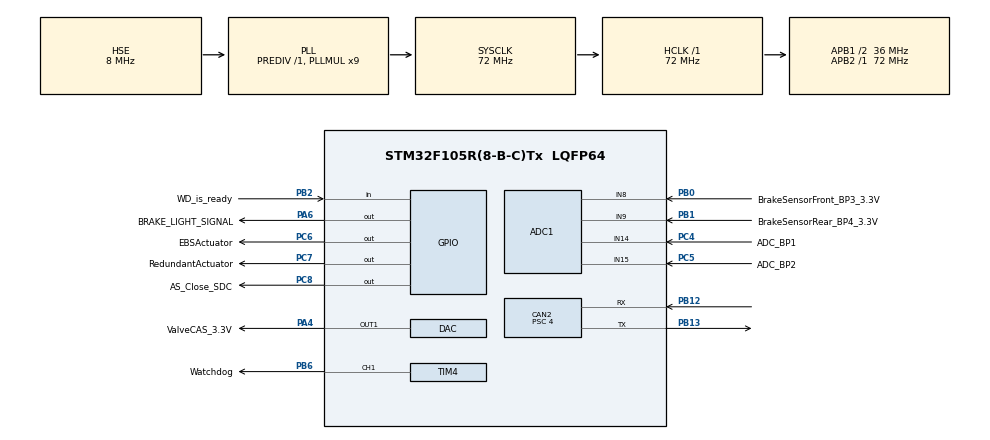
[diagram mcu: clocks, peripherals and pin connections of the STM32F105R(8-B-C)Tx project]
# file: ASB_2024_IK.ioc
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ADC1.Channel-4\#ChannelInjectedConversion=ADC_CHANNEL_8
ADC1.Channel-5\#ChannelInjectedConversion=ADC_CHANNEL_9
ADC1.Channel-6\#ChannelInjectedConversion=ADC_CHANNEL_14
ADC1.Channel-7\#ChannelInjectedConversion=ADC_CHANNEL_15
ADC1.ContinuousConvMode=DISABLE
ADC1.EnableInjectedConversion=ENABLE
ADC1.EnableRegularConversion=DISABLE
ADC1.InjNumberOfConversion=4
ADC1.InjectedOffset-4\#ChannelInjectedConversion=0
ADC1.InjectedOffset-5\#ChannelInjectedConversion=0
ADC1.InjectedOffset-6\#ChannelInjectedConversion=0
ADC1.InjectedOffset-7\#ChannelInjectedConversion=0
ADC1.InjectedRank-4\#ChannelInjectedConversion=1
ADC1.InjectedRank-5\#ChannelInjectedConversion=2
ADC1.InjectedRank-6\#ChannelInjectedConversion=3
ADC1.InjectedRank-7\#ChannelInjectedConversion=4
ADC1.SamplingTime-4\#ChannelInjectedConversion=ADC_SAMPLETIME_55CYCLES_5
ADC1.SamplingTime-5\#ChannelInjectedConversion=ADC_SAMPLETIME_55CYCLES_5
ADC1.SamplingTime-6\#ChannelInjectedConversion=ADC_SAMPLETIME_55CYCLES_5
ADC1.SamplingTime-7\#ChannelInjectedConversion=ADC_SAMPLETIME_55CYCLES_5
ADC1.master=1
CAN2.ABOM=ENABLE
CAN2.AWUM=ENABLE
CAN2.BS1=CAN_BS1_15TQ
CAN2.BS2=CAN_BS2_2TQ
CAN2.CalculateBaudRate=500000
CAN2.CalculateTimeBit=2000
CAN2.CalculateTimeQuantum=111.11111111111111
CAN2.NART=ENABLE
CAN2.Prescaler=4
FREERTOS.Tasks01=readSensors,1,128,StartReadSensorsTsk,Default,NULL,Dynamic,NULL,NULL;supervisor,2,128,supervisorTask,Default,NULL,Dynamic,NULL,NULL;ManageSysTask,0,256,ManageTask,Default,NULL,Dynamic,NULL,NULL;SendCANTask,0,128,SendControlCANTask,Default,NULL,Dynamic,NULL,NULL
Mcu.Family=STM32F1
Mcu.Name=STM32F105R(8-B-C)Tx
Mcu.Package=LQFP64
NVIC.ADC1_2_IRQn=true\:5\:0\:false\:false\:true\:true\:true\:true\:true
NVIC.CAN2_RX0_IRQn=true\:5\:0\:false\:false\:true\:true\:true\:true\:true
NVIC.CAN2_TX_IRQn=true\:5\:0\:false\:false\:true\:true\:true\:true\:true
NVIC.PriorityGroup=NVIC_PRIORITYGROUP_4
NVIC.TIM7_IRQn=true\:15\:0\:false\:false\:true\:false\:false\:true\:true
NVIC.TimeBase=TIM7_IRQn
NVIC.TimeBaseIP=TIM7
PA13.Mode=Serial_Wire
PA13.Signal=SYS_JTMS-SWDIO
PA14.Mode=Serial_Wire
PA14.Signal=SYS_JTCK-SWCLK
PA4.GPIO_Label=ValveCAS_3.3V
PA4.Signal=COMP_DAC1_group
PA6.GPIO_Label=BRAKE_LIGHT_SIGNAL
PA6.GPIO_Speed=GPIO_SPEED_FREQ_HIGH
PA6.Signal=GPIO_Output
PB0.GPIO_Label=BrakeSensorFront_BP3_3.3V
PB0.Signal=ADCx_IN8
PB1.GPIO_Label=BrakeSensorRear_BP4_3.3V
PB1.Signal=ADCx_IN9
PB12.Mode=CAN_Activate
PB12.Signal=CAN2_RX
PB13.Mode=CAN_Activate
PB13.Signal=CAN2_TX
PB2.GPIO_Label=WD_is_ready
PB2.GPIO_PuPd=GPIO_PULLDOWN
PB2.Signal=GPIO_Input
PB6.GPIO_Label=Watchdog
PB6.Signal=S_TIM4_CH1
PC4.GPIO_Label=ADC_BP1
PC4.Signal=ADCx_IN14
PC5.GPIO_Label=ADC_BP2
PC5.Signal=ADCx_IN15
PC6.GPIO_Label=EBSActuator
PC6.GPIO_PuPd=GPIO_PULLDOWN
PC6.GPIO_Speed=GPIO_SPEED_FREQ_HIGH
PC6.Signal=GPIO_Output
PC7.GPIO_Label=RedundantActuator
PC7.GPIO_PuPd=GPIO_PULLDOWN
PC7.GPIO_Speed=GPIO_SPEED_FREQ_HIGH
PC7.Signal=GPIO_Output
PC8.GPIO_Label=AS_Close_SDC
PC8.GPIO_PuPd=GPIO_PULLDOWN
PC8.GPIO_Speed=GPIO_SPEED_FREQ_HIGH
PC8.Signal=GPIO_Output
PD0-OSC_IN.Mode=HSE-External-Oscillator
PD0-OSC_IN.Signal=RCC_OSC_IN
PD1-OSC_OUT.Mode=HSE-External-Oscillator
PD1-OSC_OUT.Signal=RCC_OSC_OUT
ProjectManager.HeapSize=0x200
ProjectManager.StackSize=0x400
ProjectManager.TargetToolchain=MDK-ARM V5
RCC.ADCPresc=RCC_ADCPCLK2_DIV6
RCC.AHBFreq_Value=72000000
RCC.APB1CLKDivider=RCC_HCLK_DIV2
RCC.APB1Freq_Value=36000000
RCC.APB1TimFreq_Value=72000000
RCC.APB2Freq_Value=72000000
RCC.APB2TimFreq_Value=72000000
RCC.HCLKFreq_Value=72000000
RCC.PLLMUL=RCC_PLL_MUL9
RCC.PLLSourceVirtual=RCC_PLLSOURCE_HSE
RCC.SYSCLKFreq_VALUE=72000000
RCC.SYSCLKSource=RCC_SYSCLKSOURCE_PLLCLK
RCC.USBFreq_Value=48000000
SH.ADCx_IN14.0=ADC1_IN14,IN14
SH.ADCx_IN15.0=ADC1_IN15,IN15
SH.ADCx_IN8.0=ADC1_IN8,IN8
SH.ADCx_IN9.0=ADC1_IN9,IN9
SH.COMP_DAC1_group.0=DAC_OUT1,DAC_OUT1
SH.S_TIM4_CH1.0=TIM4_CH1,PWM Generation1 CH1
TIM4.Channel-PWM\ Generation1\ CH1=TIM_CHANNEL_1
TIM4.Period=1999
TIM4.Prescaler=71
TIM4.Pulse-PWM\ Generation1\ CH1=999
VP_FREERTOS_VS_CMSIS_V1.Mode=CMSIS_V1
VP_SYS_VS_tim7.Mode=TIM7
board=custom

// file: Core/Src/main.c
/* USER CODE BEGIN Header */
/**
  ******************************************************************************
  * @file           : main.c
  * @brief          : Main program body
  ******************************************************************************
  * @attention
  *
  * Copyright (c) 2024 STMicroelectronics.
  * All rights reserved.
  *
  * This software is licensed under terms that can be found in the LICENSE file
  * in the root directory of this software component.
  * If no LICENSE file comes with this software, it is provided AS-IS.
  *
  ******************************************************************************
  */
/* USER CODE END Header */
#include "main.h"
#include "cmsis_os.h"

/* USER CODE BEGIN Includes */
#include <ISO646.h>
#include <stdlib.h>
#include <math.h>
#include <stdbool.h>
/* USER CODE END Includes */

/* USER CODE BEGIN PTD */
typedef enum {
	ASB_RESET,
	MANUAL_DRIVING_MODE,
	INIT_CHECK_REQUEST,
	GO_SIGNAL,                          //	unused, yet
	EXT_EMERGENCY,
	EMERGENCY_HANDLER_ERROR,              // error that occurs when the Watchdog wasn't stopped
	EMERGENCY_HANDLER_COMPLETE,
	MONITORING_FINISHED,
	MONITORING_ERROR,
	INIT_CHECK_ERROR,
	INIT_CHECK_COMPLETE,
} ASBSignal_TypeDef;
ASBSignal_TypeDef ASBSignal;

typedef enum {
	NO_ERRORS = 0,
	ENERGY_STORAGE_NOT_FILLED,
	OVERPRESSURE_OR_IMPAUSIBILITY,
	DRIVING_MODE_ERROR,
	BRAKES_NOT_WORKING,
	EBS_ENERGY_STORAGE_ERROR,
	UNEXPECTED_SIGNAL_ERROR,
} ErrorFlag_TypeDef;
ErrorFlag_TypeDef ErrorFlag = NO_ERRORS;

typedef enum {
	AS_OFF = 0,
	INIT_CHECK,
	READY,
	DRIVING,
	EMERGENCY,
	SAFE_STATE,
} ASBState_TypeDef;
ASBState_TypeDef ASBState = AS_OFF;

// status(OFF=0x0, MANUAL=0x1, READY=0x2, DRIVING=0x3, EMERGENCY=0x4)
typedef enum {
	_OFF = 0,
	_MANUAL,
	_READY,
	_DRIVING,
	_EMERGENCY,
} ASBStatus_TypeDef;
ASBStatus_TypeDef ASBStatus = _OFF;

/* USER CODE END PTD */

/* USER CODE BEGIN PD */
#define SDC_CLOSE() HAL_GPIO_WritePin(AS_Close_SDC_GPIO_Port,AS_Close_SDC_Pin,GPIO_PIN_SET);
#define SDC_OPEN() HAL_GPIO_WritePin(AS_Close_SDC_GPIO_Port,AS_Close_SDC_Pin,GPIO_PIN_RESET);
#define BRAKE_LIGHT_ON() HAL_GPIO_WritePin(BRAKE_LIGHT_SIGNAL_GPIO_Port,BRAKE_LIGHT_SIGNAL_Pin,GPIO_PIN_SET);
#define BRAKE_LIGHT_OFF() HAL_GPIO_WritePin(BRAKE_LIGHT_SIGNAL_GPIO_Port,BRAKE_LIGHT_SIGNAL_Pin,GPIO_PIN_RESET);

#define EBS_QM1_ON() HAL_GPIO_WritePin(EBSActuator_GPIO_Port, EBSActuator_Pin, GPIO_PIN_SET);
#define Redundant_QM2_ON() HAL_GPIO_WritePin(RedundantActuator_GPIO_Port, RedundantActuator_Pin, GPIO_PIN_SET);
#define EBS_QM1_OFF() HAL_GPIO_WritePin(EBSActuator_GPIO_Port, EBSActuator_Pin, GPIO_PIN_RESET);
#define Redundant_QM2_OFF() HAL_GPIO_WritePin(RedundantActuator_GPIO_Port, RedundantActuator_Pin, GPIO_PIN_RESET);

#define WD_READY_FALL_TIME 100  	// Time during which WD_is_ready is expected to fall, ms
#define WD_READY_RISE_TIME 100	 	// Time during which WD_is_ready is expected to rise, ms

#define STORAGE_PNEUMO_MIN_PRESSURE_BP1		6.5 	// bar
#define STORAGE_PNEUMO_MIN_PRESSURE_BP2 	5.5 	// bar
#define STORAGE_PNEUMO_MAX_PRESSURE_BP1 	8.5 	// bar
#define STORAGE_PNEUMO_MAX_PRESSURE_BP2 	6.5 	// bar
#define HYDRO_MIN_PRESSURE								10   	// bar
/*
The pressure sensor cannot output 0 during operation.
If the sensor outputs a value of 0, then it is defective.
Therefore we must enter some minimum value PRESSURE_MIN. This value is found empirically.
If the value coming from the sensor is less than PRESSURE_MIN, then we assume that the sensor outputs zero.
We also enter the PRESSURE_ZERO value.
If the value coming from the sensor is less than PRESSURE_ZERO, the sensor does not work.
*/
#define PNEUMO_MIN_PRESSURE 		1 	// bar
//#define PNEUMO_ZERO_PRESSURE		3
#define PRESSURE_MAX_DIFFERENCE 410 // Need found

#define TIME_FOR_SENSORS_CHECK 	100

#define DAC_PRESSURE_MIN 0x0
#define DAC_PRESSURE_MAX 0xFFF
#define CAN_PRESSURE_MIN 0x0
#define CAN_PRESSURE_MAX 0xFFFF
#define PNEUMO_BAR_PRESSURE_MIN 	0
#define PNEUMO_BAR_PRESSURE_MAX 	6
#define HYDRO_BAR_PRESSURE_MIN 		0
#define HYDRO_BAR_PRESSURE_MAX 		100

#define PI 3.141592

#define T 0.001; //sample time (discretization)

#define k 4018.9f //коэффициент для пересчета давления в гидравлике(бар) в тормозной момент(Н*м)

#define DEBUG 0

#if (DEBUG == 0)
#define MEDIAN_ORDER 10
#endif

/*~~~~~~~~~~~~~~~~ADC~~~~~~~~~~~~~~~~*/
volatile uint16_t adc[4] = {0,}; // у нас четыре канала поэтому массив из двух элементов
bool ADC_flag = 0; //флаг окончания преобразования ADC
/*~~~~~~~~~~~~~~~~ADC~~~~~~~~~~~~~~~~*/

/*~~~~~~~~~~~~~~~~~~~~~~~~~~~~~~~~~~~~~~~~~~~~~~~~~~~~~~HydroPressure~~~~~~~~~~~~~~~~~~~~~~~~~~~~~~~~~~~~~~~~~~~~~~~~~~~~~~*/
/*BrakeSensorFront*/
float VAL_BrakeSensFront, VAL_BrakeSensFront_prev, VAL_BrakeSensFront_f = 0;
int16_t ADC_BrakeSensFront = 0;

/*BrakeSensorRear*/
float VAL_BrakeSensRear, VAL_BrakeSensRear_prev, VAL_BrakeSensRear_f = 0;
int16_t ADC_BrakeSensRear = 0;

/*BrakeSensorsVariables*/
float VAL_HydroPressure = 0; //VAL_HydroPressure = VAL_BrakeSensRear_f + VAL_BrakeSensFront_f;
/*~~~~~~~~~~~~~~~~~~~~~~~~~~~~~~~~~~~~~~~~~~~~~~~~~~~~~~HydroPressure~~~~~~~~~~~~~~~~~~~~~~~~~~~~~~~~~~~~~~~~~~~~~~~~~~~~~~*/

/*~~~~~~~~~~~~~~~~~~~~~~~~~~~~~~~~~~~~~~~~~~~~~~~~~~~~~~PneumoPressure~~~~~~~~~~~~~~~~~~~~~~~~~~~~~~~~~~~~~~~~~~~~~~~~~~~~~~*/
/*Pressure BP1*/
float VAL_Pressure_BP1, VAL_Pressure_BP1_prev, VAL_Pressure_BP1_f = 0;
int16_t ADC_Pressure_BP1 = 0;
/*Pressure BP1*/

/*Pressure BP2*/
float VAL_Pressure_BP2, VAL_Pressure_BP2_prev, VAL_Pressure_BP2_f = 0;
int16_t ADC_Pressure_BP2 = 0;
/*Pressure BP2*/
/*~~~~~~~~~~~~~~~~~~~~~~~~~~~~~~~~~~~~~~~~~~~~~~~~~~~~~~PneumoPressure~~~~~~~~~~~~~~~~~~~~~~~~~~~~~~~~~~~~~~~~~~~~~~~~~~~~~~*/

/*~~~~~~~~~~~~~~~~~~~~~~~~~~~~~~~~~~~~~~~~~~~~~~~~~~~~~~Brake Moment~~~~~~~~~~~~~~~~~~~~~~~~~~~~~~~~~~~~~~~~~~~~~~~~~~~~~~*/
float VAL_MomentBrake  = 0;
/*~~~~~~~~~~~~~~~~~~~~~~~~~~~~~~~~~~~~~~~~~~~~~~~~~~~~~~Brake Moment~~~~~~~~~~~~~~~~~~~~~~~~~~~~~~~~~~~~~~~~~~~~~~~~~~~~~~*/

/*~~~~~~~~~~~~~~~~PID value~~~~~~~~~~~~~~~~*/
static float outPIDpne = 0;
static float outPIDhyd = 0;
static float outPIDmoment = 0;
float setPneumoValue = 0;
float setHydroValue = 0;
float setMomentValue = 0;
/*~~~~~~~~~~~~~~~~PID value~~~~~~~~~~~~~~~~*/

uint8_t EBS_STATUS = 0;
uint16_t setVoltage = 0;
uint8_t SDC_STATUS = 1;
/* USER CODE END PD */

ADC_HandleTypeDef hadc1;

CAN_HandleTypeDef hcan2;

DAC_HandleTypeDef hdac;

TIM_HandleTypeDef htim4;

osThreadId readSensorsHandle;
osThreadId supervisorHandle;
osThreadId ManageSysTaskHandle;
osThreadId SendCANTaskHandle;
/* USER CODE BEGIN PV */
CAN_TxHeaderTypeDef pTxHeader;
CAN_RxHeaderTypeDef pRxHeader;
uint32_t TxMailbox;
uint8_t i = 0;
uint8_t recieve = 0;
float transmit = 0;
uint8_t TX_data[8], RX_data[8];
CAN_FilterTypeDef sFilterConfig;
/* USER CODE END PV */

void SystemClock_Config(void);
static void MX_GPIO_Init(void);
static void MX_ADC1_Init(void);
static void MX_TIM4_Init(void);
static void MX_DAC_Init(void);
static void MX_CAN2_Init(void);
void StartReadSensorsTsk(void const * argument);
void supervisorTask(void const * argument);
void ManageTask(void const * argument);
void SendControlCANTask(void const * argument);

/* USER CODE BEGIN 0 */
float convert(float value, float From1, float From2, float To1, float To2) {
  return ((value - From1) / (From2 - From1) * (To2 - To1) + To1);
}

float exponential_filter(float alpha, float currentValue, float previousValue){ //функция экспоненциального фильтра
	return alpha * currentValue + (1.0f - alpha) * previousValue;
}

void HAL_ADCEx_InjectedConvCpltCallback(ADC_HandleTypeDef* hadc)
{
    if(hadc->Instance == ADC1) //check if the interrupt comes from ACD1
    {
      adc[0] = HAL_ADCEx_InjectedGetValue(&hadc1, ADC_INJECTED_RANK_1); //BP 3
      adc[1] = HAL_ADCEx_InjectedGetValue(&hadc1, ADC_INJECTED_RANK_2); //BP 4
			adc[2] = HAL_ADCEx_InjectedGetValue(&hadc1, ADC_INJECTED_RANK_3); //BP 1
      adc[3] = HAL_ADCEx_InjectedGetValue(&hadc1, ADC_INJECTED_RANK_4); //BP 2
			ADC_flag = 1;
      HAL_ADCEx_InjectedStart_IT(&hadc1);
    }
}

//void HAL_ADC_ConvCpltCallback(ADC_HandleTypeDef* hadc){ //прерывание по окончанию преобразования АЦП
//    if(hadc->Instance == ADC1)
//    {
//      ADC_flag = 1;
//    }
//}

void SensorsRead(){ //считывание и фильтрация сигнала с датчиков давления
	if(ADC_flag)
  {
    ADC_flag = 0;
		ADC_BrakeSensFront = adc[0];
		ADC_BrakeSensRear = adc[1];
		ADC_Pressure_BP1 = adc[2];
		ADC_Pressure_BP2 = adc[3];
//		adc[0] = 0;
//    adc[1] = 0;
//		adc[2] = 0;
//		adc[3] = 0;

		/*-----------ADC -> Bar for Brake Sensors-----------*/
		VAL_BrakeSensFront = (ADC_BrakeSensFront * 100.0f)/4095.0f;
		VAL_BrakeSensRear = (ADC_BrakeSensRear * 100.0f)/4095.0f;
		VAL_BrakeSensFront_f = exponential_filter(0.01f, VAL_BrakeSensFront, VAL_BrakeSensFront_prev);
		VAL_BrakeSensRear_f = exponential_filter(0.01f, VAL_BrakeSensRear, VAL_BrakeSensRear_prev);

		/*-----------ADC -> Bar for BP1 and BP2-----------*/
//		VAL_Pressure_BP1 = (ADC_Pressure_BP1 * 10.0f)/4095.0f;
//		VAL_Pressure_BP2 = (ADC_Pressure_BP2 * 10.0f)/4095.0f;
		VAL_Pressure_BP1 = convert(ADC_Pressure_BP1, 0, 0xFFF, 0, 10);
		VAL_Pressure_BP2 = convert(ADC_Pressure_BP2, 0, 0xFFF, 0, 10);

		/*-----------Exponential filter for brake sensors-----------*/
//		VAL_BrakeSensFront_f = exponential_filter(0.02f, VAL_BrakeSensFront, VAL_BrakeSensFront_prev);
//		VAL_BrakeSensRear_f = exponential_filter(0.02f, VAL_BrakeSensRear, VAL_BrakeSensRear_prev);
		VAL_BrakeSensFront_prev = VAL_BrakeSensFront;
		VAL_BrakeSensRear_prev = VAL_BrakeSensRear;

		/*-----------Exponential filter for BP1 and BP2-----------*/
		VAL_Pressure_BP1_f = exponential_filter(0.2f, VAL_Pressure_BP1, VAL_Pressure_BP1_prev);
		VAL_Pressure_BP2_f = exponential_filter(0.2f, VAL_Pressure_BP2, VAL_Pressure_BP2_prev);
		VAL_Pressure_BP1_prev = VAL_Pressure_BP1;
    VAL_Pressure_BP2_prev = VAL_Pressure_BP2;
  }
}

void BRAKE_LIGHT_FUNCTION(){ //функция свечения стопаря в зависимости от давления в гидравлике
	if(VAL_BrakeSensRear_f >= 1.0f) {BRAKE_LIGHT_ON();}
	else if(VAL_BrakeSensRear_f <= 0.1f) {BRAKE_LIGHT_OFF();}
}

float PID_Moment(float setVal, float val, float up_lim, float low_lim, float Kp, float Ki, float Kd) { //PID-регулятор
	static float error_PID, error_PID_prev = 0;
	static float Prop, Int, Dif = 0;
	static float Int_prev = 0;
	static float out_PID = 0;
	/*--------вычисление ошибки регулирования--------*/
	error_PID = setVal - val;

	/*--------Пропорциональная составляющая--------*/
	Prop = Kp * error_PID;

	/*--------интегральная составляющая--------*/
	Int = Int_prev + Ki * error_PID * T;

	/*--------Дифференциальная составляющая--------*/
	Dif = Kd * (error_PID - error_PID_prev) / T;

	/*--------Обновление предыдущих значений--------*/
	error_PID_prev = error_PID;
	Int_prev = Int;

	/*--------Выход PID регулятора--------*/
	out_PID = Prop + Int + Dif;
	out_PID = fminf(fmaxf(out_PID, low_lim), up_lim); //ограничиваем выход PID-регулятора
  return out_PID;
}

float PID_Hydraulic(float setVal, float val, float up_lim, float low_lim, float Kp, float Ki, float Kd) { //PID-регулятор
	static float error_PID, error_PID_prev = 0;
	static float Prop, Int, Dif = 0;
	static float Int_prev = 0;
	static float out_PID = 0;
	/*--------вычисление ошибки регулирования--------*/
	error_PID = setVal - val;

	/*--------Пропорциональная составляющая--------*/
	Prop = Kp * error_PID;

	/*--------интегральная составляющая--------*/
	Int = Int_prev + Ki * error_PID * T;

	/*--------Дифференциальная составляющая--------*/
	Dif = Kd * (error_PID - error_PID_prev) / T;

	/*--------Обновление предыдущих значений--------*/
	error_PID_prev = error_PID;
	Int_prev = Int;

	/*--------Выход PID регулятора--------*/
	out_PID = Prop + Int + Dif;
	out_PID = fminf(fmaxf(out_PID, low_lim), up_lim); //ограничиваем выход PID-регулятора
  return out_PID;
}

float PID_Pneumatic(float setVal, float val, float up_lim, float low_lim, float Kp, float Ki, float Kd) { //PID-регулятор
	static float error_PID, error_PID_prev = 0;
	static float Prop, Int, Dif = 0;
	static float Int_prev = 0;
	static float out_PID = 0;
	/*--------вычисление ошибки регулирования--------*/
	error_PID = setVal - val;

	/*--------Пропорциональная составляющая--------*/
	Prop = Kp * error_PID;

	/*--------интегральная составляющая--------*/
	Int = Int_prev + Ki * error_PID * T;

	/*--------Дифференциальная составляющая--------*/
	Dif = Kd * (error_PID - error_PID_prev) / T;

	/*--------Обновление предыдущих значений--------*/
	error_PID_prev = error_PID;
	Int_prev = Int;

	/*--------Выход PID регулятора--------*/
	out_PID = Prop + Int + Dif;
	out_PID = fminf(fmaxf(out_PID, low_lim), up_lim); //ограничиваем выход PID-регулятора
  return out_PID;
}

void DAC_voltageControl(float PID_output){
	uint16_t setVoltage = 0;
	setVoltage = (PID_output * 4095.0f)/8.0f;
	HAL_DAC_SetValue(&hdac, DAC_CHANNEL_1, DAC_ALIGN_12B_R, setVoltage);
}

void MANUALDrivingModeHandler(void) {
	HAL_TIM_PWM_Start(&htim4, Watchdog_Pin);
	if(HAL_GPIO_ReadPin(WD_is_ready_GPIO_Port, WD_is_ready_Pin) == 1){
		SDC_CLOSE();                             //Enable TS activation through AS_close_SDC
	  BRAKE_LIGHT_FUNCTION();
	}
}
/* USER CODE END 0 */

int main(void)
{

  /* MCU Configuration--------------------------------------------------------*/

  /* Reset of all peripherals, Initializes the Flash interface and the Systick. */
  HAL_Init();

  /* Configure the system clock */
  SystemClock_Config();

  /* Initialize all configured peripherals */
  MX_GPIO_Init();
  MX_ADC1_Init();
  MX_TIM4_Init();
  MX_DAC_Init();
  MX_CAN2_Init();
  /* USER CODE BEGIN 2 */
	SDC_CLOSE();
  HAL_TIM_PWM_Start(&htim4, Watchdog_Pin); //тактирование Watchdog
  HAL_ADCEx_Calibration_Start(&hadc1);     //калибруем АЦП
	HAL_ADCEx_InjectedStart_IT(&hadc1);      //Запуск инжектированных каналов АЦП с прерыанием
	HAL_DAC_Start(&hdac, DAC_CHANNEL_1);     //Запуск DAC
  /* USER CODE END 2 */

  /* Create the thread(s) */
  /* definition and creation of readSensors */
  osThreadDef(readSensors, StartReadSensorsTsk, osPriorityAboveNormal, 0, 128);
  readSensorsHandle = osThreadCreate(osThread(readSensors), NULL);

  /* definition and creation of supervisor */
  osThreadDef(supervisor, supervisorTask, osPriorityHigh, 0, 128);
  supervisorHandle = osThreadCreate(osThread(supervisor), NULL);

  /* definition and creation of ManageSysTask */
  osThreadDef(ManageSysTask, ManageTask, osPriorityNormal, 0, 256);
  ManageSysTaskHandle = osThreadCreate(osThread(ManageSysTask), NULL);

  /* definition and creation of SendCANTask */
  osThreadDef(SendCANTask, SendControlCANTask, osPriorityNormal, 0, 128);
  SendCANTaskHandle = osThreadCreate(osThread(SendCANTask), NULL);

  /* Start scheduler */
  osKernelStart();

  /* We should never get here as control is now taken by the scheduler */
  /* Infinite loop */
  while (1)
  {

  }
}

void SystemClock_Config(void)
{
  RCC_OscInitTypeDef RCC_OscInitStruct = {0};
  RCC_ClkInitTypeDef RCC_ClkInitStruct = {0};
  RCC_PeriphCLKInitTypeDef PeriphClkInit = {0};

  /** Initializes the RCC Oscillators according to the specified parameters
  * in the RCC_OscInitTypeDef structure.
  */
  RCC_OscInitStruct.OscillatorType = RCC_OSCILLATORTYPE_HSE;
  RCC_OscInitStruct.HSEState = RCC_HSE_ON;
  RCC_OscInitStruct.HSEPredivValue = RCC_HSE_PREDIV_DIV1;
  RCC_OscInitStruct.HSIState = RCC_HSI_ON;
  RCC_OscInitStruct.Prediv1Source = RCC_PREDIV1_SOURCE_HSE;
  RCC_OscInitStruct.PLL.PLLState = RCC_PLL_ON;
  RCC_OscInitStruct.PLL.PLLSource = RCC_PLLSOURCE_HSE;
  RCC_OscInitStruct.PLL.PLLMUL = RCC_PLL_MUL9;
  RCC_OscInitStruct.PLL2.PLL2State = RCC_PLL_NONE;
  if (HAL_RCC_OscConfig(&RCC_OscInitStruct) != HAL_OK)
  {
    Error_Handler();
  }

  /** Initializes the CPU, AHB and APB buses clocks
  */
  RCC_ClkInitStruct.ClockType = RCC_CLOCKTYPE_HCLK|RCC_CLOCKTYPE_SYSCLK
                              |RCC_CLOCKTYPE_PCLK1|RCC_CLOCKTYPE_PCLK2;
  RCC_ClkInitStruct.SYSCLKSource = RCC_SYSCLKSOURCE_PLLCLK;
  RCC_ClkInitStruct.AHBCLKDivider = RCC_SYSCLK_DIV1;
  RCC_ClkInitStruct.APB1CLKDivider = RCC_HCLK_DIV2;
  RCC_ClkInitStruct.APB2CLKDivider = RCC_HCLK_DIV1;

  if (HAL_RCC_ClockConfig(&RCC_ClkInitStruct, FLASH_LATENCY_2) != HAL_OK)
  {
    Error_Handler();
  }
  PeriphClkInit.PeriphClockSelection = RCC_PERIPHCLK_ADC;
  PeriphClkInit.AdcClockSelection = RCC_ADCPCLK2_DIV6;
  if (HAL_RCCEx_PeriphCLKConfig(&PeriphClkInit) != HAL_OK)
  {
    Error_Handler();
  }

  /** Configure the Systick interrupt time
  */
  __HAL_RCC_PLLI2S_ENABLE();
}

static void MX_ADC1_Init(void)
{

  ADC_InjectionConfTypeDef sConfigInjected = {0};

  /** Common config
  */
  hadc1.Instance = ADC1;
  hadc1.Init.ScanConvMode = ADC_SCAN_ENABLE;
  hadc1.Init.ContinuousConvMode = DISABLE;
  hadc1.Init.DiscontinuousConvMode = DISABLE;
  hadc1.Init.ExternalTrigConv = ADC_SOFTWARE_START;
  hadc1.Init.DataAlign = ADC_DATAALIGN_RIGHT;
  hadc1.Init.NbrOfConversion = 1;
  if (HAL_ADC_Init(&hadc1) != HAL_OK)
  {
    Error_Handler();
  }

  /** Configure Injected Channel
  */
  sConfigInjected.InjectedChannel = ADC_CHANNEL_8;
  sConfigInjected.InjectedRank = ADC_INJECTED_RANK_1;
  sConfigInjected.InjectedNbrOfConversion = 4;
  sConfigInjected.InjectedSamplingTime = ADC_SAMPLETIME_55CYCLES_5;
  sConfigInjected.ExternalTrigInjecConv = ADC_INJECTED_SOFTWARE_START;
  sConfigInjected.AutoInjectedConv = DISABLE;
  sConfigInjected.InjectedDiscontinuousConvMode = DISABLE;
  sConfigInjected.InjectedOffset = 0;
  if (HAL_ADCEx_InjectedConfigChannel(&hadc1, &sConfigInjected) != HAL_OK)
  {
    Error_Handler();
  }

  /** Configure Injected Channel
  */
  sConfigInjected.InjectedChannel = ADC_CHANNEL_9;
  sConfigInjected.InjectedRank = ADC_INJECTED_RANK_2;
  if (HAL_ADCEx_InjectedConfigChannel(&hadc1, &sConfigInjected) != HAL_OK)
  {
    Error_Handler();
  }

  /** Configure Injected Channel
  */
  sConfigInjected.InjectedChannel = ADC_CHANNEL_14;
  sConfigInjected.InjectedRank = ADC_INJECTED_RANK_3;
  if (HAL_ADCEx_InjectedConfigChannel(&hadc1, &sConfigInjected) != HAL_OK)
  {
    Error_Handler();
  }

  /** Configure Injected Channel
  */
  sConfigInjected.InjectedChannel = ADC_CHANNEL_15;
  sConfigInjected.InjectedRank = ADC_INJECTED_RANK_4;
  if (HAL_ADCEx_InjectedConfigChannel(&hadc1, &sConfigInjected) != HAL_OK)
  {
    Error_Handler();
  }

}

static void MX_CAN2_Init(void)
{

  hcan2.Instance = CAN2;
  hcan2.Init.Prescaler = 4;
  hcan2.Init.Mode = CAN_MODE_NORMAL;
  hcan2.Init.SyncJumpWidth = CAN_SJW_1TQ;
  hcan2.Init.TimeSeg1 = CAN_BS1_15TQ;
  hcan2.Init.TimeSeg2 = CAN_BS2_2TQ;
  hcan2.Init.TimeTriggeredMode = DISABLE;
  hcan2.Init.AutoBusOff = ENABLE;
  hcan2.Init.AutoWakeUp = ENABLE;
  hcan2.Init.AutoRetransmission = ENABLE;
  hcan2.Init.ReceiveFifoLocked = DISABLE;
  hcan2.Init.TransmitFifoPriority = DISABLE;
  if (HAL_CAN_Init(&hcan2) != HAL_OK)
  {
    Error_Handler();
  }
  /* USER CODE BEGIN CAN2_Init 2 */
pTxHeader.DLC = 8;                          //Колличество передаваемых бит
pTxHeader.IDE = CAN_ID_STD;
pTxHeader.RTR = CAN_RTR_DATA;
pTxHeader.StdId = 0x103;
pTxHeader.TransmitGlobalTime = DISABLE;

sFilterConfig.FilterBank = 0;
sFilterConfig.FilterMode = CAN_FILTERMODE_IDLIST;   //Режим работы: IDMASK/IDLIST
sFilterConfig.FilterFIFOAssignment = CAN_RX_FIFO0;
sFilterConfig.SlaveStartFilterBank = 0;
sFilterConfig.FilterIdHigh = 0x100<<5;
sFilterConfig.FilterIdLow = 0x100<<5;
sFilterConfig.FilterMaskIdHigh = 0x100<<5;
sFilterConfig.FilterMaskIdLow = 0x100<<5;
sFilterConfig.FilterScale = CAN_FILTERSCALE_16BIT;
sFilterConfig.FilterActivation = ENABLE;

  if (HAL_CAN_ConfigFilter(&hcan2, &sFilterConfig)!= HAL_OK)
    {
      // Filter configuration Error
      Error_Handler();
    }

  if(HAL_CAN_Start(&hcan2)!= HAL_OK)
    {
      //Start Error
      Error_Handler();
    }
  /* Activate CAN RX notification */
  if (HAL_CAN_ActivateNotification(&hcan2, CAN_IT_RX_FIFO0_MSG_PENDING | CAN_IT_TX_MAILBOX_EMPTY) != HAL_OK)
   {
     /* Notification Error */
     Error_Handler();
   }
  /* USER CODE END CAN2_Init 2 */

}

static void MX_DAC_Init(void)
{

  DAC_ChannelConfTypeDef sConfig = {0};

  /** DAC Initialization
  */
  hdac.Instance = DAC;
  if (HAL_DAC_Init(&hdac) != HAL_OK)
  {
    Error_Handler();
  }

  /** DAC channel OUT1 config
  */
  sConfig.DAC_Trigger = DAC_TRIGGER_NONE;
  sConfig.DAC_OutputBuffer = DAC_OUTPUTBUFFER_ENABLE;
  if (HAL_DAC_ConfigChannel(&hdac, &sConfig, DAC_CHANNEL_1) != HAL_OK)
  {
    Error_Handler();
  }

}

static void MX_TIM4_Init(void)
{

  TIM_MasterConfigTypeDef sMasterConfig = {0};
  TIM_OC_InitTypeDef sConfigOC = {0};

  htim4.Instance = TIM4;
  htim4.Init.Prescaler = 71;
  htim4.Init.CounterMode = TIM_COUNTERMODE_UP;
  htim4.Init.Period = 1999;
  htim4.Init.ClockDivision = TIM_CLOCKDIVISION_DIV1;
  htim4.Init.AutoReloadPreload = TIM_AUTORELOAD_PRELOAD_DISABLE;
  if (HAL_TIM_PWM_Init(&htim4) != HAL_OK)
  {
    Error_Handler();
  }
  sMasterConfig.MasterOutputTrigger = TIM_TRGO_RESET;
  sMasterConfig.MasterSlaveMode = TIM_MASTERSLAVEMODE_DISABLE;
  if (HAL_TIMEx_MasterConfigSynchronization(&htim4, &sMasterConfig) != HAL_OK)
  {
    Error_Handler();
  }
  sConfigOC.OCMode = TIM_OCMODE_PWM1;
  sConfigOC.Pulse = 999;
  sConfigOC.OCPolarity = TIM_OCPOLARITY_HIGH;
  sConfigOC.OCFastMode = TIM_OCFAST_DISABLE;
  if (HAL_TIM_PWM_ConfigChannel(&htim4, &sConfigOC, TIM_CHANNEL_1) != HAL_OK)
  {
    Error_Handler();
  }
  HAL_TIM_MspPostInit(&htim4);

}

static void MX_GPIO_Init(void)
{
  GPIO_InitTypeDef GPIO_InitStruct = {0};

  /* GPIO Ports Clock Enable */
  __HAL_RCC_GPIOD_CLK_ENABLE();
  __HAL_RCC_GPIOA_CLK_ENABLE();
  __HAL_RCC_GPIOC_CLK_ENABLE();
  __HAL_RCC_GPIOB_CLK_ENABLE();

  /*Configure GPIO pin Output Level */
  HAL_GPIO_WritePin(BRAKE_LIGHT_SIGNAL_GPIO_Port, BRAKE_LIGHT_SIGNAL_Pin, GPIO_PIN_RESET);

  /*Configure GPIO pin Output Level */
  HAL_GPIO_WritePin(GPIOC, EBSActuator_Pin|RedundantActuator_Pin|AS_Close_SDC_Pin, GPIO_PIN_RESET);

  /*Configure GPIO pin : BRAKE_LIGHT_SIGNAL_Pin */
  GPIO_InitStruct.Pin = BRAKE_LIGHT_SIGNAL_Pin;
  GPIO_InitStruct.Mode = GPIO_MODE_OUTPUT_PP;
  GPIO_InitStruct.Pull = GPIO_NOPULL;
  GPIO_InitStruct.Speed = GPIO_SPEED_FREQ_HIGH;
  HAL_GPIO_Init(BRAKE_LIGHT_SIGNAL_GPIO_Port, &GPIO_InitStruct);

  /*Configure GPIO pin : WD_is_ready_Pin */
  GPIO_InitStruct.Pin = WD_is_ready_Pin;
  GPIO_InitStruct.Mode = GPIO_MODE_INPUT;
  GPIO_InitStruct.Pull = GPIO_PULLDOWN;
  HAL_GPIO_Init(WD_is_ready_GPIO_Port, &GPIO_InitStruct);

  /*Configure GPIO pins : EBSActuator_Pin RedundantActuator_Pin AS_Close_SDC_Pin */
  GPIO_InitStruct.Pin = EBSActuator_Pin|RedundantActuator_Pin|AS_Close_SDC_Pin;
  GPIO_InitStruct.Mode = GPIO_MODE_OUTPUT_PP;
  GPIO_InitStruct.Pull = GPIO_PULLDOWN;
  GPIO_InitStruct.Speed = GPIO_SPEED_FREQ_HIGH;
  HAL_GPIO_Init(GPIOC, &GPIO_InitStruct);

}

/* USER CODE BEGIN 4 */
//void HAL_CAN_RxFifo0MsgPendingCallback(CAN_HandleTypeDef *hcan){
//	HAL_CAN_GetRxMessage(hcan, CAN_RX_FIFO0, &pRxHeader, RX_data);
//	if(pRxHeader.StdId == 0x300){
//		*(uint32_t*)&setMomentValue = *((uint32_t*)&RX_data[0]);
//	}
//	else if(pRxHeader.StdId == 0x301){
//		switch(RX_data[0]){
//
//			case 0x00:
//				ASBSignal = ASB_RESET;
//			break;
//
//			case 0x01:
//				ASBSignal = MANUAL_DRIVING_MODE;
//			break;
//
//			case 0x02:
//				ASBSignal = INIT_CHECK_REQUEST;
//			break;
//
//			case 0x03:
//				ASBSignal = EXT_EMERGENCY;
//			break;
//		}
////		if(RX_data[0] == 0x00){
////         currentASBSignal = ASB_Reset;
////		}
////		if(RX_data[0] == 1){
////				 currentASBSignal = Manual_Driving_Mode;
////		}
////		if(RX_data[0] == 2){
////				 currentASBSignal = Init_Check_Request;
////		}
////		if (RX_data[0] == 3) {
////				 currentASBSignal = Emergency_External;
////				// emergencyHandler();
////		}
//	}
//}
//void HAL_CAN_TxMailbox0CompleteCallback(CAN_HandleTypeDef*hcan) {
//}

//void EmergencyHandler(void) {
//	ASBSignal_TypeDef someASBSignal;
//
//  EBS_QM1_OFF();                                               // Disable EBS actuator (Turn OFF valve QM1)
//
//	Redundant_QM2_OFF();                                         // Disable Redundant actuator (Turn OFF valve QM2)
//
//	HAL_DAC_SetValue(&hdac, DAC_CHANNEL_1, DAC_ALIGN_12B_R, 0);  // Break pressure filled to Proportional valve
//
//	SDC_OPEN();                                                  // AS opened SDC
//
//	// Stop toggling watchdog => SDC will be opened
//	if (HAL_TIM_PWM_Stop(&htim4, Watchdog_Pin) != HAL_OK) {
//		someASBSignal = EMERGENCY_HANDLER_ERROR;
//	}
//}

/* USER CODE END 4 */

void StartReadSensorsTsk(void const * argument)
{
  /* USER CODE BEGIN 5 */
  /* Infinite loop */
  for(;;)
  {
//		if(SDC_STATUS == 0) SDC_OPEN();
//		if(SDC_STATUS == 1) SDC_CLOSE();
		SensorsRead();
//		if(ADC_BrakeSensFront == 0) SDC_OPEN();
//		VAL_BrakeSensFront_f = VAL_BrakeSensRear_f * 1.191f;             //т.к. передний не работает
//		VAL_HydroPressure = VAL_BrakeSensRear_f + VAL_BrakeSensFront_f;  //суммарное давление в гидравлике
//		VAL_MomentBrake = VAL_HydroPressure * k;                         //считаем тормозной момент
		BRAKE_LIGHT_FUNCTION();
    osDelay(1);
  }
  /* USER CODE END 5 */
}

void supervisorTask(void const * argument)
{
  /* USER CODE BEGIN supervisorTask */
  /* Infinite loop */
  for(;;)
  {
//		switch (ASBState) {
//				case AS_OFF:
//					switch (ASBSignal) {
//
//						case ASB_RESET:
//							break;
//
//						case EXT_EMERGENCY:
//							break;
//
//						case MANUAL_DRIVING_MODE:
//							break;
//
//						case INIT_CHECK_REQUEST:
//							break;
//
//						default:
//							break;
//					}
//					break;
//
//				case INIT_CHECK:
//					switch (ASBSignal) {
//
//						case EXT_EMERGENCY:
//							break;
//
//						case INIT_CHECK_ERROR:
//							break;
//
//						case INIT_CHECK_COMPLETE:
//							break;
//
//						default:
//							break;
//					}
//					break;
//
//				case READY:
//					switch (ASBSignal) {
//
//						case EXT_EMERGENCY:
//							break;
//
//						case ASB_RESET:
//							break;
//
//						case MONITORING_ERROR:
//							break;
//
//						case GO_SIGNAL:
//							break;
//
//						default:
//							break;
//					}
//					break;
//
//				case DRIVING:
//					switch (ASBSignal) {
//						case EXT_EMERGENCY:
//							break;
//
//						case MONITORING_ERROR:
//							break;
//
//						case MONITORING_FINISHED: // Which actions should be done in AS_FINISHED status?
//							break;
//
//						default:
//							break;
//					}
//					break;
//
//				case EMERGENCY:
//					switch (ASBSignal) {
//
//						case EXT_EMERGENCY:
//							break;
//
//						case EMERGENCY_HANDLER_ERROR:
//							break;
//
//						case EMERGENCY_HANDLER_COMPLETE:
//							break;
//
//						default:
//							break;
//					}
//					break;
//
//				case SAFE_STATE:
//					switch (ASBSignal) {
//
//						case ASB_RESET:
////							HAL_NVIC_SystemReset();
//							break;
//
//						default:
//							break;
//					}
//					break;
//			}
    osDelay(1);
  }
  /* USER CODE END supervisorTask */
}

void ManageTask(void const * argument)
{
  /* USER CODE BEGIN ManageTask */
  /* Infinite loop */
  for(;;)
  {
//		if(EBS_STATUS == 1){
//	  EBS_QM1_ON();
//    Redundant_QM2_ON();
//		}
//		else if (EBS_STATUS == 0){
//			EBS_QM1_OFF();
//      Redundant_QM2_OFF();
//		}
//		setHydroValue = PID_Moment(setMomentValue, VAL_MomentBrake, 6000.0f, -6000.0f, 1.0f, 0, 0);
//		setPneumoValue = PID_Hydraulic(setHydroValue, VAL_HydroPressure, 22.0f, -22.0f, 1.0f, 0, 0);
//		outPIDpne = PID_Pneumatic(setPneumoValue, VAL_Pressure_BP2_f, 8.0f, -8.0f, 1.0f, 0, 0);
//		DAC_voltageControl(outPIDpne);
//		HAL_DAC_SetValue(&hdac, DAC_CHANNEL_1, DAC_ALIGN_12B_R, setVoltage);
    osDelay(1);
  }
  /* USER CODE END ManageTask */
}

void SendControlCANTask(void const * argument)
{
  /* USER CODE BEGIN SendControlCANTask */
  /* Infinite loop */
  for(;;)
  {
		transmit = VAL_BrakeSensFront_f;
		*((uint32_t*)&TX_data[4]) = *(uint32_t*)&transmit;
//		TX_data[4] = ASBStatus;                                      // status(OFF=0x0, MANUAL=0x1, READY=0x2, DRIVING=0x3, EMERGENCY=0x4)
		HAL_CAN_AddTxMessage(&hcan2,&pTxHeader,TX_data,&TxMailbox);  //отправка тормозного момента и статуса на VCDU
    osDelay(10);
  }
  /* USER CODE END SendControlCANTask */
}

void HAL_TIM_PeriodElapsedCallback(TIM_HandleTypeDef *htim)
{
  if (htim->Instance == TIM7) {
    HAL_IncTick();
  }
}

void Error_Handler(void)
{
  __disable_irq();
  while (1)
  {
  }
}
